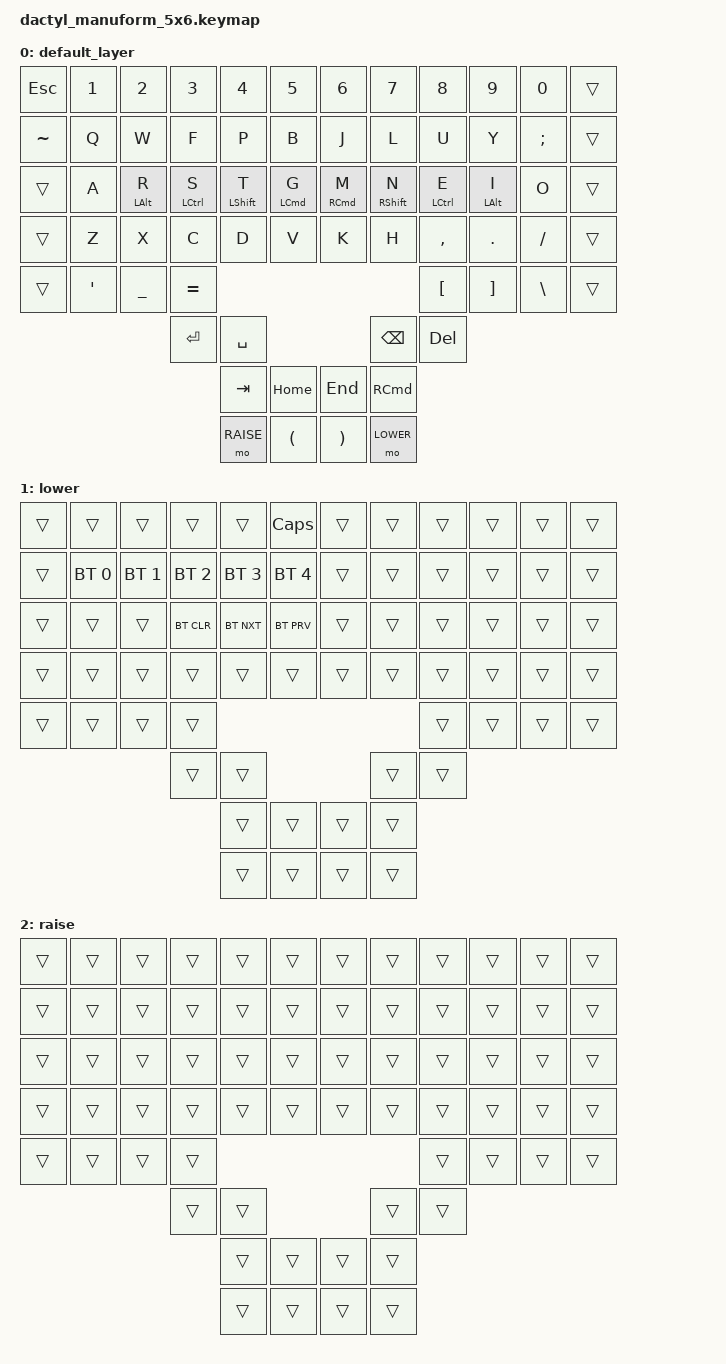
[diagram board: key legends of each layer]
#include <behaviors.dtsi>
#include <dt-bindings/zmk/keys.h>
#include <dt-bindings/zmk/bt.h>

#define DEFAULT 0
#define RAISE 1
#define LOWER 2

/ {
    keymap {
        compatible = "zmk,keymap";

        default_layer {
// Colemak DH
// -------------------------------------------------------------------------------------------------------------------------
// |   ESC   |    1    |    2    |    3    |    4    |    5    |                   |    6    |    7    |    8    |    9    |    0    |         |
// |    ~    |    Q    |    W    |    F    |    P    |    B    |                   |    J    |    L    |    U    |    Y    |    ;    |         |
// |         |    A    |R (LALT) |S (LCTL) |T (LSFT) |G (LCMD) |                   |M (LCMD) |N (RSFT) |E (LCTL) |I (LALT) |    O    |         |
// |         |    Z    |    X    |    C    |    D    |    V    |                   |    K    |    H    |    ,    |    .    |    /    |         |
// |         |    '    |    _    |    =    |                                                           |    [    |    ]    |    \    |         |
//                     |  ENTER  |  SPACE  |                                                 |   BSPC  |   DEL   |
//                               |   TAB   |   HOME  |                             |   END   |  LCND   |
//                               |  Raise  |    (    |                             |    )    |  Lower  |

            bindings = <
    &kp ESC   &kp N1    &kp N2      &kp N3       &kp N4       &kp N5          &kp N6       &kp N7       &kp N8       &kp N9      &kp N0    &trans
    &kp TILDE &kp Q     &kp W       &kp F        &kp P        &kp B           &kp J        &kp L        &kp U        &kp Y       &kp SEMI  &trans
    &trans    &kp A     &mt LALT R  &mt LCTRL S  &mt LSHFT T  &mt LCMD G      &mt RCMD M   &mt RSHFT N  &mt LCTRL E  &mt LALT I  &kp O     &trans
    &trans    &kp Z     &kp X       &kp C        &kp D        &kp V           &kp K        &kp H        &kp COMMA    &kp DOT     &kp FSLH  &trans
    &trans    &kp APOS  &kp UNDER   &kp EQUAL                                                           &kp LBKT     &kp RBKT    &kp BSLH  &trans
                                    &kp ENTER    &kp SPACE                                 &kp BSPC     &kp DEL
                                                 &kp TAB      &kp HOME        &kp END      &kp RCMD
                                                 &mo RAISE    &kp LPAR        &kp RPAR     &mo LOWER

            >;
        };

        lower {
// ZMK doesn't support mouse behaviors, so unlike QMK, this default keymap
// exchanges that behavior for Bluetooth behavior
// -------------------------------------------------------------------------------------------------------------------------
// |         |         |         |         |         |  LCAPS  |                   |         |         |         |         |         |         |
// |         |    BT1  |    BT2  |    BT3  |    BT4  |    BT5  |                   |         |  PG_UP  |   UP    |  PG_DN  |         |         |
// |         |         |         |  BTCLR  |  BTNXT  |  BTPRV  |                   |         |   LEFT  |   DOWN  |  RIGHT  |         |         |
// |         |         |         |         |         |         |                   |         |         |         |         |         |         |
// |         |         |         |         |                                                           |         |         |         |         |
//                     |ESC+SHFT |BS + CTRL|                                                 |         |         |
//                               |   TAB   |   HOME  |                             |         |         |
//                               |  Raise  |    ~    |                             |         |         |

            bindings = <
    &trans    &trans        &trans        &trans        &trans        &kp CAPS          &trans    &trans    &trans    &trans    &trans    &trans
    &trans    &bt BT_SEL 0  &bt BT_SEL 1  &bt BT_SEL 2  &bt BT_SEL 3  &bt BT_SEL 4      &trans    &trans    &trans    &trans    &trans    &trans
    &trans    &trans        &trans        &bt BT_CLR    &bt BT_NXT    &bt BT_PRV        &trans    &trans    &trans    &trans    &trans    &trans
    &trans    &trans        &trans        &trans        &trans        &trans            &trans    &trans    &trans    &trans    &trans    &trans
    &trans    &trans        &trans        &trans                                                            &trans    &trans    &trans    &trans
                                          &trans        &trans                                    &trans    &trans
                                                        &trans        &trans            &trans    &trans
                                                        &trans        &trans            &trans    &trans
            >;
        };

        raise {
// |         |     !   |    @    |    #    |    $    |    %    |                   |    ^    |    &    |    *    |    (    |    )    |         |
// |    F1   |   F2    |   F3    |    F5   |    F5   |    F6   |                   |    F7   |    F8   |   F9    |   F10   |   F11   |  F12    |
// |         |         |         |         |         |         |                   |         |         |         |         |    :    |         |
// |         |         |         |         |         |         |                   |         |         |    <    |    >    |    ?    |         |
// |         |    "    |    -    |    +    |                                                           |    {    |    }    |    |    |         |
//                     |         |         |                                                 |         |         |
//                               |         |         |                             |         |         |
//                               |         |         |                             |         |         |

            bindings = <
    &trans    &trans    &trans    &trans    &trans    &trans        &trans    &trans    &trans    &trans    &trans    &trans
    &trans    &trans    &trans    &trans    &trans    &trans        &trans    &trans    &trans    &trans    &trans    &trans
    &trans    &trans    &trans    &trans    &trans    &trans        &trans    &trans    &trans    &trans    &trans    &trans
    &trans    &trans    &trans    &trans    &trans    &trans        &trans    &trans    &trans    &trans    &trans    &trans
    &trans    &trans    &trans    &trans                                                &trans    &trans    &trans    &trans
                                  &trans    &trans                            &trans     &trans
                                            &trans    &trans        &trans     &trans
                                            &trans    &trans        &trans     &trans
            >;
        };

        // This layer is for easier copy/paste when creating new keymaps, so you have transparent keys already added
//        trans {
// |         |         |         |         |         |         |                   |         |         |         |         |         |         |
// |         |         |         |         |         |         |                   |         |         |         |         |         |         |
// |         |         |         |         |         |         |                   |         |         |         |         |         |         |
// |         |         |         |         |         |         |                   |         |         |         |         |         |         |
// |         |         |         |         |                                                           |         |         |         |         |
//                     |         |         |                                                 |         |         |
//                               |         |         |                             |         |         |
//                               |         |         |                             |         |         |

//            bindings = <
//    &trans    &trans    &trans    &trans    &trans    &trans        &trans    &trans    &trans    &trans    &trans    &trans
//    &trans    &trans    &trans    &trans    &trans    &trans        &trans    &trans    &trans    &trans    &trans    &trans
//    &trans    &trans    &trans    &trans    &trans    &trans        &trans    &trans    &trans    &trans    &trans    &trans
//    &trans    &trans    &trans    &trans    &trans    &trans        &trans    &trans    &trans    &trans    &trans    &trans
//    &trans    &trans    &trans    &trans                                                &trans    &trans    &trans    &trans
//                                  &trans    &trans                            &trans     &trans
//                                            &trans    &trans        &trans     &trans
//                                            &trans    &trans        &trans     &trans
//            >;
//        };
    };
};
